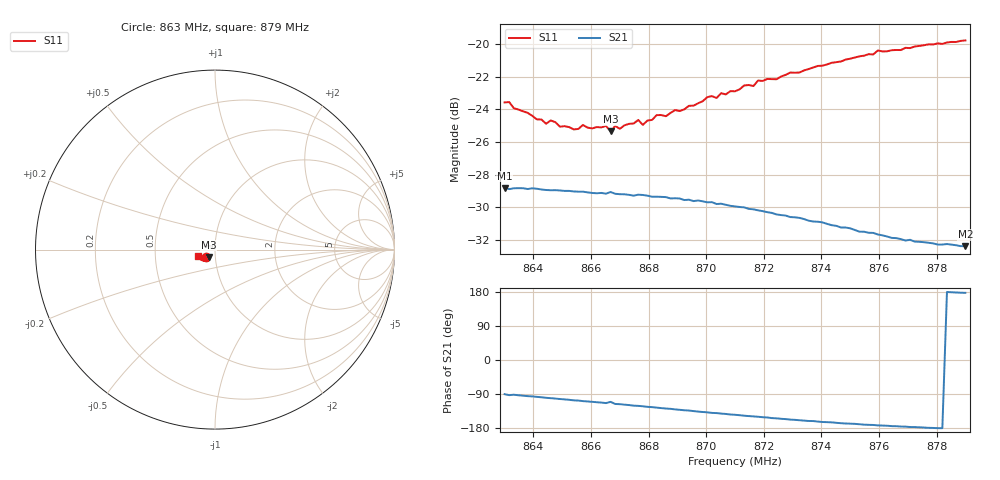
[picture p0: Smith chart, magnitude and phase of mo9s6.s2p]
# HZ S RI R 50
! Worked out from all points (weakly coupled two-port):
!   101 points, 863 MHz to 879 MHz, reference 50 ohm
!   highest |S21| = -28.82 dB at 863 MHz (marker M1); lowest = -32.4 dB at 879 MHz (marker M2)
!   lowest |S11| = -25.3 dB at 866.68 MHz (marker M3), VSWR 1.11, Z = 46.4 - j3.76 ohm
!   |S11| at or under -10 dB: start of sweep to end of sweep
!   S12 and S22 are empty: the file has one direction only
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8.63e8  -0.0525 -0.0406  -0.000112 -0.0362  0 0  0 0
8.6444e8  -0.043 -0.0375  -0.00606 -0.0352  0 0  0 0
8.646e8  -0.0431 -0.0394  -0.00664 -0.035  0 0  0 0
8.654e8  -0.0384 -0.0391  -0.01 -0.0339  0 0  0 0
8.6572e8  -0.0379 -0.042  -0.0112 -0.0335  0 0  0 0
8.6652e8  -0.0352 -0.0438  -0.014 -0.0319  0 0  0 0
8.6668e8  -0.0359 -0.0404  -0.0123 -0.033  0 0  0 0
8.6684e8  -0.0344 -0.0444  -0.0153 -0.0312  0 0  0 0
8.67e8  -0.0334 -0.0437  -0.0155 -0.031  0 0  0 0
8.6764e8  -0.0337 -0.0479  -0.0178 -0.0296  0 0  0 0
8.678e8  -0.0323 -0.0464  -0.0183 -0.0292  0 0  0 0
8.6844e8  -0.0339 -0.0503  -0.0205 -0.0272  0 0  0 0
8.6924e8  -0.0343 -0.053  -0.0225 -0.0245  0 0  0 0
8.7004e8  -0.0378 -0.0575  -0.0244 -0.0218  0 0  0 0
8.71e8  -0.0408 -0.059  -0.0259 -0.0184  0 0  0 0
8.7132e8  -0.043 -0.0612  -0.0265 -0.0172  0 0  0 0
8.7164e8  -0.0431 -0.0607  -0.0266 -0.0161  0 0  0 0
8.718e8  -0.0466 -0.0618  -0.0267 -0.0156  0 0  0 0
8.7244e8  -0.0488 -0.061  -0.027 -0.0132  0 0  0 0
8.7372e8  -0.057 -0.0629  -0.027 -0.00924  0 0  0 0
8.7644e8  -0.0784 -0.0553  -0.0253 -0.00245  0 0  0 0
8.79e8  -0.0957 -0.0374  -0.024 0.00118  0 0  0 0
